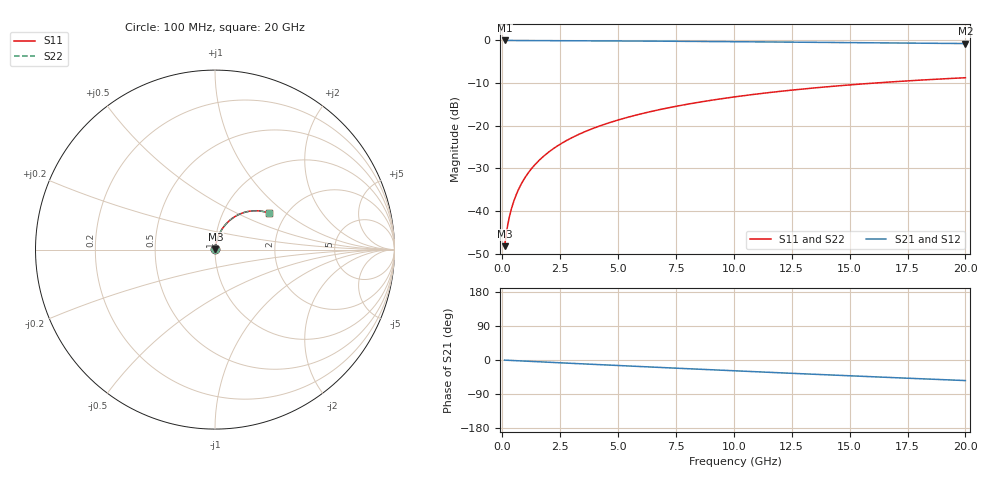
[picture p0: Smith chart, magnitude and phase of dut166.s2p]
! Touchstone file exported from HFSS 2026.1.0
!  File:  C:/ffzhzh/LocalFiles/Ansys_Project_Files/temp_train_BSMRDL_166_1782986891_6248.aedt
!  Generated:  06:09:55 PM Jul  2, 2026
!  Design:  BSMRDL
!  Project:  temp_train_BSMRDL_166_1782986891_6248
! Variables:
!  h_bsmrdl = 5.96um
!  h_ox = 20um
!  h_rdl = 5um
!  h_sub = 80um
!  h_tmrdl = 5um
!  h_tsv = 80um
!  h_via = 3um
!  l_bsmrdl = 899.36um
!  l_sub = 1299.36um
!  l_tmrdl = 200um
!  m_sub = 200um
!  pitch = 41.02um
!  r_tsv = 6um
!  s_tmrdl = 10um
!  w_bsmrdl = 21.24um
!  w_sub = 500um
!  w_tmrdl = 12um
!  x_tsv_center1 = 206um
!  x_tsv_center2 = 1126.6um
!  x_tsv_center3 = 1338.6um
!  x_tsv_center4 = 2259.2um
!  x_tsv_center5 = 2471.2um
!  x_tsv_center6 = 3391.8um
# GHz S MA R 50.000000
! Terminal data exported
! Port[1] = BSM_RDL1_1_T1
! Port[2] = BSM_RDL1_1_T2
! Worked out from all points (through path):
!   200 points, 100 MHz to 20 GHz, reference 50 ohm
!   highest |S21| = -0.02 dB at 100 MHz (marker M1); lowest = -0.7 dB at 20 GHz (marker M2)
!   group delay of S21, straight-line fit = 7.53 ps
!   lowest |S11| = -48.3 dB at 100 MHz (marker M3), VSWR 1.01, Z = 50.3 + j0.275 ohm
!   |S11| at or under -10 dB: start of sweep to 16.1 GHz
!   |S22| runs from -48.3 to -8.8 dB; largest |S21 - S12| = 1e-14
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0.1  0.003862 45.2  0.9973 -0.3  0.9973 -0.3  0.003862 45.2
! Gamma 0 0 0 0
! Port Impedance 50 0 50 0
0.2  0.006087 60.6  0.9971 -0.6  0.9971 -0.6  0.006088 60.6
0.3  0.008401 67.3  0.9969 -0.9  0.9969 -0.9  0.008402 67.3
0.4  0.01073 71.2  0.9967 -1.2  0.9967 -1.2  0.01073 71.2
0.5  0.01308 73.7  0.9966 -1.5  0.9966 -1.5  0.01308 73.7
0.6  0.01545 75.4  0.9965 -1.8  0.9965 -1.8  0.01545 75.4
0.8  0.02023 77.4  0.9963 -2.4  0.9963 -2.4  0.02023 77.4
1.1  0.02744 78.7  0.9959 -3.3  0.9959 -3.3  0.02744 78.7
1.5  0.03702 79.0  0.9952 -4.5  0.9952 -4.5  0.03702 79.0
1.8  0.04416 78.8  0.9945 -5.4  0.9945 -5.4  0.04416 78.8
2.1  0.05125 78.3  0.9939 -6.2  0.9939 -6.2  0.05125 78.3
2.7  0.06521 77.1  0.9923 -8.0  0.9923 -8.0  0.06522 77.1
3.5  0.08342 75.2  0.99 -10.3  0.99 -10.3  0.08342 75.2
4.2  0.09899 73.5  0.9878 -12.3  0.9878 -12.3  0.099 73.5
5  0.1164 71.4  0.9851 -14.6  0.9851 -14.6  0.1164 71.4
5.9  0.1356 69.2  0.9819 -17.1  0.9819 -17.1  0.1356 69.1
6.8  0.1543 66.8  0.9785 -19.6  0.9785 -19.6  0.1543 66.8
8.3  0.1844 63.0  0.9724 -23.8  0.9724 -23.8  0.1844 63.0
10.1  0.2187 58.4  0.9645 -28.7  0.9645 -28.7  0.2187 58.3
13.4  0.2756 50.0  0.9487 -37.5  0.9487 -37.5  0.2756 49.9
16.7  0.3244 41.7  0.9326 -46.0  0.9326 -46.0  0.3244 41.7
20  0.3646 33.7  0.9173 -54.3  0.9173 -54.3  0.3646 33.7
